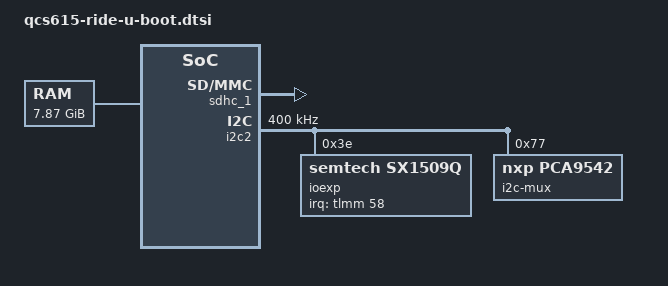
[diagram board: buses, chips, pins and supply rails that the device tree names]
// SPDX-License-Identifier: BSD-3-Clause
/*
 * Copyright (c) 2025, Qualcomm Innovation Center, Inc. All rights reserved.
 */

/ {
	smem {
		compatible = "qcom,smem";
		memory-region = <&smem_region>;
		hwlocks = <&tcsr_mutex 3>;
		bootph-all;
	};

	/delete-node/ idle-states;
	/delete-node/ domain-idle-states;

	psci {
		cpu_pd0: power-domain-cpu0 {
			/delete-property/ domain-idle-states;
		};

		cpu_pd1: power-domain-cpu1 {
			/delete-property/ domain-idle-states;
		};

		cpu_pd2: power-domain-cpu2 {
			/delete-property/ domain-idle-states;
		};

		cpu_pd3: power-domain-cpu3 {
			/delete-property/ domain-idle-states;
		};

		cpu_pd4: power-domain-cpu4 {
			/delete-property/ domain-idle-states;
		};

		cpu_pd5: power-domain-cpu5 {
			/delete-property/ domain-idle-states;
		};

		cpu_pd6: power-domain-cpu6 {
			/delete-property/ domain-idle-states;
		};

		cpu_pd7: power-domain-cpu7 {
			/delete-property/ domain-idle-states;
		};

		cluster_pd: power-domain-cluster {
			/delete-property/ domain-idle-states;
		};
	};

	memory@80000000 {
		device_type = "memory";
		reg = <0x0 0x80000000 0x0 0x7a00000>,
		      <0x0 0x89600000 0x0 0x30100000>,
		      <0x0 0xc0000000 0x0 0xc0000000>,
		      <0x1 0x80000000 0x1 0x00000000>;
	};

	reserved-memory {
		aop_cmd_db_mem: aop-cmd-db@85f20000 {
			compatible = "qcom,cmd-db";
			reg = <0x00 0x85f20000 0x00 0x20000>;
			no-map;
		};
		smem_region: smem@86000000 {
			/delete-property/ compatible;
			/delete-property/ hwlocks;
		};
	};


	soc@0 {
		apps_smmu: iommu@15000000 {
			bootph-all;
		};

		tlmm: pinctrl@3100000 {
			qup_uart0_tx: qup-uart0-tx-state {
				bootph-all;
			};

			qup_uart0_rx: qup-uart0-rx-state {
				bootph-all;
			};
		};

		sdhc_1: mmc@7c4000 {
			status = "okay";
		};

		sdhc_2: mmc@8804000 {
			status = "disabled";
		};

		ufs_mem_hc: ufshc@1d84000 {
			/delete-property/ clocks;
			/delete-property/ clock-names;
			/* Keep only the clocks that are implemented in U-Boot clock driver */
			clocks = <&gcc GCC_UFS_PHY_AXI_CLK>,
				 <&gcc GCC_AGGRE_UFS_PHY_AXI_CLK>,
				 <&gcc GCC_UFS_PHY_AHB_CLK>,
				 <&gcc GCC_UFS_PHY_UNIPRO_CORE_CLK>,
				 <&gcc GCC_UFS_PHY_ICE_CORE_CLK>,
				 <&gcc GCC_UFS_PHY_TX_SYMBOL_0_CLK>,
				 <&gcc GCC_UFS_PHY_RX_SYMBOL_0_CLK>;
			clock-names = "core_clk",
				      "bus_aggr_clk",
				      "iface_clk",
				      "core_clk_unipro",
				      "ice_core_clk",
				      "tx_lane0_sync_clk",
				      "rx_lane0_sync_clk";
			/delete-property/ operating-points-v2;
			phys = <&ufs_mem_phy_lanes>;
			freq-table-hz = <50000000 200000000>,
					<0 0>,
					<0 0>,
					<37500000 150000000>,
					<0 0>,
					<0 0>,
					<0 0>,
					<75000000 300000000>;

		};

		ufs_mem_phy: phy@1d87000 {
			reg = <0x0 0x01d87000 0x0 0x1c4>;
                        ranges;
			/delete-property/ clocks;
			/delete-property/ clock-names;
			clock-names = "ref_aux";
			clocks = <&gcc GCC_UFS_PHY_PHY_AUX_CLK>;
                        ufs_mem_phy_lanes: phy@1d87400 {
                                reg = <0x0 0x1d87400 0x0 0x12c>,
                                      <0x0 0x1d87600 0x0 0x200>,
                                      <0x0 0x1d87c00 0x0 0x1b8>;
                                #phy-cells = <0>;
                        };
                };

		/* Remove GCC_USB3_PRIM_CLKREF_CLK from usb_1 node to avoid U-Boot clock warnings */
		usb_1: usb@a6f8800 {
			/delete-property/ clocks;
			/delete-property/ clock-names;
			/* Keep only the clocks that are implemented in U-Boot clock driver */
			clocks = <&gcc GCC_CFG_NOC_USB3_PRIM_AXI_CLK>,
				 <&gcc GCC_USB30_PRIM_MASTER_CLK>,
				 <&gcc GCC_AGGRE_USB3_PRIM_AXI_CLK>,
				 <&gcc GCC_USB30_PRIM_SLEEP_CLK>,
				 <&gcc GCC_USB30_PRIM_MOCK_UTMI_CLK>;
			clock-names = "cfg_noc", "core", "iface", "sleep", "mock_utmi";
		};

	};
};

&i2c2 {
        /delete-property/ power-domains;
        clock-frequency = <400000>;
        status = "okay";

        ioexp: gpio@3e {
                compatible = "semtech,sx1509q";
                reg = <0x3e>;
                interrupt-parent = <&tlmm>;
                interrupts = <58 0>;
                gpio-controller;
                #gpio-cells = <2>;
                interrupt-controller;
                #interrupt-cells = <2>;
                semtech,probe-reset;
        };

        i2c-mux@77 {
                compatible = "nxp,pca9542";
                reg = <0x77>;
                #address-cells = <1>;
                #size-cells = <0>;
        };

};
